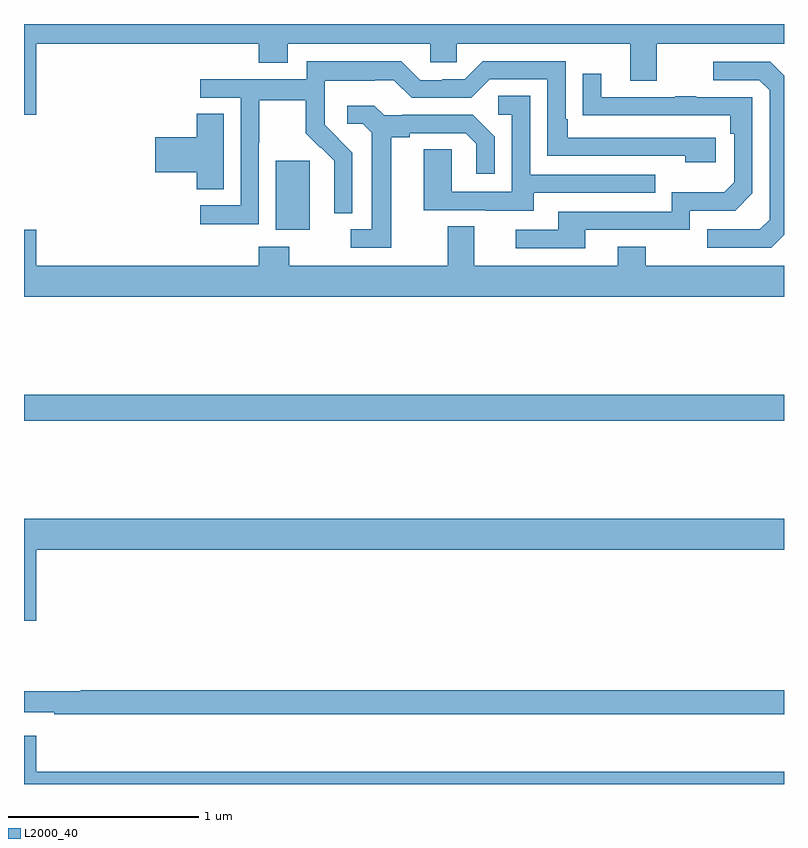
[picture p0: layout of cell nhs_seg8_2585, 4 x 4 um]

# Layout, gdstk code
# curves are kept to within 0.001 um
import gdstk
lib = gdstk.Library(unit=1e-6, precision=1e-09)
def R(c, l, rs):  # rectangles x0, y0, x1, y1
    for r in rs: c.add(gdstk.rectangle(r[:2], r[2:], *l))
def P(c, l, *ps):  # polygons
    for p in ps: c.add(gdstk.Polygon(p, *l))
L2000_40 = (2000, 40)

nhs_seg8_2585 = lib.new_cell('nhs_seg8_2585')
R(nhs_seg8_2585, L2000_40, [(273,1151.812,277,1151.948), (274.325,1152.818,274.504,1153.179)])
P(nhs_seg8_2585, L2000_40, [(273.064,1153.796),(274.235,1153.796),(274.235,1153.697),(274.387,1153.697),(274.387,1153.796),(275.139,1153.796),(275.139,1153.698),(275.277,1153.698),(275.277,1153.796),(276.191,1153.796),(276.191,1153.602),(276.331,1153.602),(276.331,1153.796),(277,1153.796),(277,1153.9),(273,1153.9),(273,1153.422),(273.064,1153.422)],
  [(274.236,1153.276),(274.239,1153.276),(274.239,1153.5),(274.483,1153.5),(274.483,1153.325),(274.56,1153.248),(274.563,1153.251),(274.634,1153.181),(274.634,1153.058),(274.632,1153.058),(274.632,1152.904),(274.728,1152.904),(274.728,1153.222),(274.582,1153.37),(274.582,1153.467),(274.584,1153.467),(274.584,1153.601),(274.847,1153.601),(274.847,1153.605),(274.947,1153.605),(275.04,1153.512),(275.355,1153.512),(275.451,1153.608),(275.754,1153.608),(275.754,1153.206),(276.479,1153.206),(276.479,1153.172),(276.64,1153.172),(276.64,1153.302),(275.863,1153.302),(275.863,1153.399),(275.85,1153.399),(275.85,1153.704),(275.415,1153.704),(275.319,1153.608),(275.201,1153.608),(275.201,1153.605),(275.085,1153.605),(274.985,1153.705),(274.488,1153.705),(274.488,1153.608),(273.927,1153.608),(273.927,1153.512),(274.14,1153.512),(274.14,1152.945),(273.927,1152.945),(273.927,1152.847),(274.236,1152.847)],
  [(277,1152.79),(277,1153.628),(276.927,1153.701),(276.627,1153.701),(276.627,1153.605),(276.87,1153.605),(276.924,1153.551),(276.924,1152.87),(276.873,1152.819),(276.597,1152.819),(276.597,1152.723),(276.933,1152.723)],
  [(275.953,1152.816),(276.504,1152.816),(276.504,1152.918),(276.744,1152.918),(276.834,1153.008),(276.834,1153.515),(276.539,1153.515),(276.539,1153.52),(276.427,1153.52),(276.427,1153.515),(276.037,1153.515),(276.037,1153.639),(275.941,1153.639),(275.941,1153.42),(276.718,1153.419),(276.718,1153.322),(276.738,1153.322),(276.738,1153.068),(276.685,1153.015),(276.408,1153.015),(276.408,1152.912),(275.813,1152.912),(275.813,1152.816),(275.589,1152.816),(275.589,1152.72),(275.953,1152.72)],
  [(275.683,1153.011),(276.323,1153.011),(276.323,1153.107),(275.664,1153.107),(275.664,1153.523),(275.496,1153.523),(275.496,1153.422),(275.568,1153.422),(275.568,1153.017),(275.25,1153.017),(275.25,1153.241),(275.105,1153.241),(275.105,1152.921),(275.429,1152.921),(275.429,1152.917),(275.683,1152.917)],
  [(274.933,1153.304),(275.029,1153.304),(275.029,1153.326),(275.324,1153.326),(275.381,1153.269),(275.381,1153.113),(275.478,1153.113),(275.478,1153.306),(275.362,1153.422),(274.99,1153.422),(274.99,1153.419),(274.896,1153.419),(274.844,1153.471),(274.701,1153.471),(274.701,1153.374),(274.782,1153.374),(274.829,1153.327),(274.829,1152.819),(274.719,1152.819),(274.719,1152.723),(274.933,1152.723)],
  [(274.051,1153.427),(273.908,1153.427),(273.908,1153.304),(273.69,1153.304),(273.69,1153.121),(273.908,1153.121),(273.908,1153.03),(274.051,1153.03)],
  [(277,1152.628),(276.273,1152.628),(276.273,1152.727),(276.125,1152.727),(276.125,1152.628),(275.371,1152.628),(275.371,1152.836),(275.231,1152.836),(275.231,1152.628),(274.395,1152.628),(274.395,1152.727),(274.235,1152.727),(274.235,1152.628),(273.064,1152.628),(273.064,1152.817),(273,1152.817),(273,1152.464),(277,1152.464)],
  [(273.064,1151.132),(277,1151.132),(277,1151.296),(273,1151.296),(273,1150.758),(273.064,1150.758)],
  [(277,1150.394),(273.299,1150.394),(273.299,1150.387),(273,1150.387),(273,1150.278),(273.16,1150.278),(273.16,1150.266),(277,1150.266)],
  [(277,1149.964),(273.064,1149.964),(273.064,1150.153),(273,1150.153),(273,1149.9),(277,1149.9)])

lib.write_gds('nhs_seg8_2585.gds')
